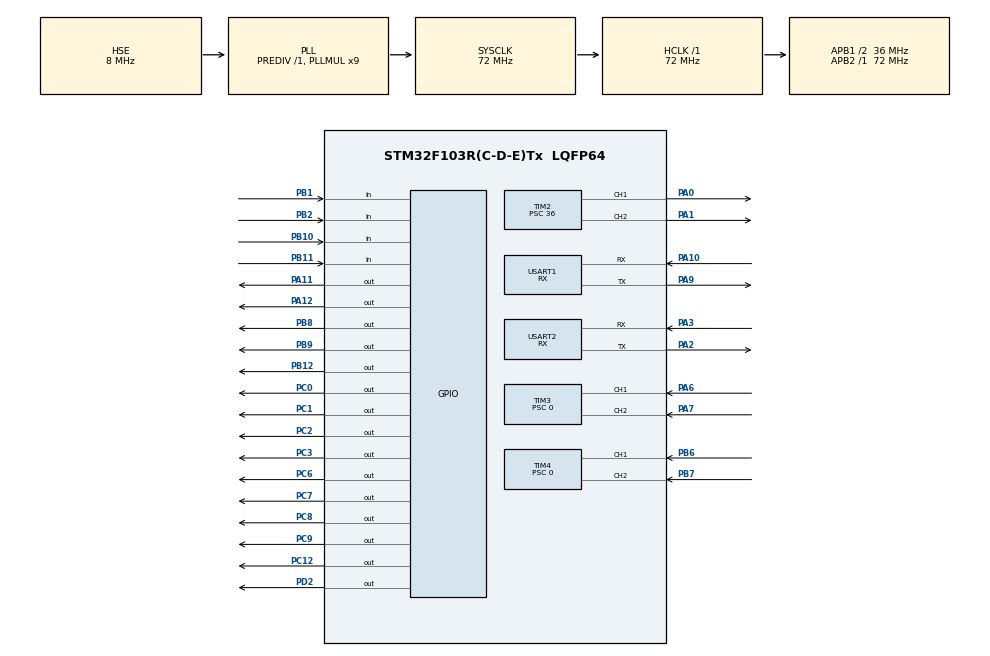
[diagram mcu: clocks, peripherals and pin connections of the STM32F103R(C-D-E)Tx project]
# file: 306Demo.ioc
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Dma.Request0=USART1_RX
Dma.Request1=USART2_RX
Dma.USART1_RX.0.Direction=DMA_PERIPH_TO_MEMORY
Dma.USART1_RX.0.Instance=DMA1_Channel5
Dma.USART1_RX.0.MemDataAlignment=DMA_MDATAALIGN_BYTE
Dma.USART1_RX.0.MemInc=DMA_MINC_ENABLE
Dma.USART1_RX.0.Mode=DMA_CIRCULAR
Dma.USART1_RX.0.PeriphDataAlignment=DMA_PDATAALIGN_BYTE
Dma.USART1_RX.0.PeriphInc=DMA_PINC_DISABLE
Dma.USART1_RX.0.Priority=DMA_PRIORITY_HIGH
Dma.USART2_RX.1.Direction=DMA_PERIPH_TO_MEMORY
Dma.USART2_RX.1.Instance=DMA1_Channel6
Dma.USART2_RX.1.MemDataAlignment=DMA_MDATAALIGN_BYTE
Dma.USART2_RX.1.MemInc=DMA_MINC_ENABLE
Dma.USART2_RX.1.Mode=DMA_CIRCULAR
Dma.USART2_RX.1.PeriphDataAlignment=DMA_PDATAALIGN_BYTE
Dma.USART2_RX.1.PeriphInc=DMA_PINC_DISABLE
Dma.USART2_RX.1.Priority=DMA_PRIORITY_HIGH
Mcu.Family=STM32F1
Mcu.Name=STM32F103R(C-D-E)Tx
Mcu.Package=LQFP64
NVIC.DMA1_Channel5_IRQn=true\:1\:0\:true\:false\:true
NVIC.DMA1_Channel6_IRQn=true\:1\:0\:true\:false\:true
NVIC.PriorityGroup=NVIC_PRIORITYGROUP_2
PA0-WKUP.GPIO_Speed=GPIO_SPEED_FREQ_HIGH
PA0-WKUP.Signal=S_TIM2_CH1_ETR
PA1.GPIO_Speed=GPIO_SPEED_FREQ_HIGH
PA1.Signal=S_TIM2_CH2
PA10.Mode=Asynchronous
PA10.Signal=USART1_RX
PA11.GPIO_Speed=GPIO_SPEED_FREQ_HIGH
PA11.Signal=GPIO_Output
PA12.GPIO_Speed=GPIO_SPEED_FREQ_HIGH
PA12.Signal=GPIO_Output
PA13.Mode=Serial_Wire
PA13.Signal=SYS_JTMS-SWDIO
PA14.Mode=Serial_Wire
PA14.Signal=SYS_JTCK-SWCLK
PA2.Mode=Asynchronous
PA2.Signal=USART2_TX
PA3.Mode=Asynchronous
PA3.Signal=USART2_RX
PA6.Signal=S_TIM3_CH1
PA7.Signal=S_TIM3_CH2
PA9.Mode=Asynchronous
PA9.Signal=USART1_TX
PB1.GPIO_PuPd=GPIO_PULLUP
PB1.Signal=GPIO_Input
PB10.GPIO_PuPd=GPIO_PULLUP
PB10.Signal=GPIO_Input
PB11.GPIO_PuPd=GPIO_PULLUP
PB11.Signal=GPIO_Input
PB12.GPIO_Speed=GPIO_SPEED_FREQ_HIGH
PB12.Signal=GPIO_Output
PB2.GPIO_PuPd=GPIO_PULLUP
PB2.Signal=GPIO_Input
PB6.Signal=S_TIM4_CH1
PB7.Signal=S_TIM4_CH2
PB8.GPIO_Speed=GPIO_SPEED_FREQ_HIGH
PB8.Signal=GPIO_Output
PB9.GPIO_Speed=GPIO_SPEED_FREQ_HIGH
PB9.Signal=GPIO_Output
PC0.GPIO_Speed=GPIO_SPEED_FREQ_HIGH
PC0.PinState=GPIO_PIN_SET
PC0.Signal=GPIO_Output
PC1.GPIO_Speed=GPIO_SPEED_FREQ_HIGH
PC1.PinState=GPIO_PIN_SET
PC1.Signal=GPIO_Output
PC12.GPIO_Speed=GPIO_SPEED_FREQ_HIGH
PC12.Signal=GPIO_Output
PC2.GPIO_Speed=GPIO_SPEED_FREQ_HIGH
PC2.PinState=GPIO_PIN_SET
PC2.Signal=GPIO_Output
PC3.GPIO_Speed=GPIO_SPEED_FREQ_HIGH
PC3.PinState=GPIO_PIN_SET
PC3.Signal=GPIO_Output
PC6.GPIO_Speed=GPIO_SPEED_FREQ_HIGH
PC6.Signal=GPIO_Output
PC7.GPIO_Speed=GPIO_SPEED_FREQ_HIGH
PC7.Signal=GPIO_Output
PC8.GPIO_Speed=GPIO_SPEED_FREQ_HIGH
PC8.Signal=GPIO_Output
PC9.GPIO_Speed=GPIO_SPEED_FREQ_HIGH
PC9.Signal=GPIO_Output
PD0-OSC_IN.Mode=HSE-External-Oscillator
PD0-OSC_IN.Signal=RCC_OSC_IN
PD1-OSC_OUT.Mode=HSE-External-Oscillator
PD1-OSC_OUT.Signal=RCC_OSC_OUT
PD2.GPIO_Speed=GPIO_SPEED_FREQ_HIGH
PD2.Signal=GPIO_Output
ProjectManager.HeapSize=0x200
ProjectManager.StackSize=0x400
ProjectManager.TargetToolchain=MDK-ARM V5
RCC.AHBFreq_Value=72000000
RCC.APB1CLKDivider=RCC_HCLK_DIV2
RCC.APB1Freq_Value=36000000
RCC.APB1TimFreq_Value=72000000
RCC.APB2Freq_Value=72000000
RCC.APB2TimFreq_Value=72000000
RCC.HCLKFreq_Value=72000000
RCC.HSIState=RCC_HSI_ON
RCC.PLLMUL=RCC_PLL_MUL9
RCC.PLLSourceVirtual=RCC_PLLSOURCE_HSE
RCC.SYSCLKFreq_VALUE=72000000
RCC.SYSCLKSource=RCC_SYSCLKSOURCE_PLLCLK
RCC.USBFreq_Value=72000000
SH.S_TIM2_CH1_ETR.0=TIM2_CH1,PWM Generation1 CH1
SH.S_TIM2_CH2.0=TIM2_CH2,PWM Generation2 CH2
SH.S_TIM3_CH1.0=TIM3_CH1,Encoder_Interface
SH.S_TIM3_CH2.0=TIM3_CH2,Encoder_Interface
SH.S_TIM4_CH1.0=TIM4_CH1,Encoder_Interface
SH.S_TIM4_CH2.0=TIM4_CH2,Encoder_Interface
TIM2.Channel-PWM\ Generation2\ CH2=TIM_CHANNEL_2
TIM2.Period=1560
TIM2.Prescaler=36
TIM2.Pulse-PWM\ Generation1\ CH1=0
TIM2.Pulse-PWM\ Generation2\ CH2=0
TIM3.CounterMode=TIM_COUNTERMODE_UP
TIM3.EncoderMode=TIM_ENCODERMODE_TI12
TIM3.IC1Filter=15
TIM3.IC1Polarity=TIM_ICPOLARITY_BOTHEDGE
TIM3.IC2Filter=15
TIM3.IC2Polarity=TIM_ICPOLARITY_BOTHEDGE
TIM3.Period=10000
TIM3.Prescaler=0
TIM4.EncoderMode=TIM_ENCODERMODE_TI12
TIM4.IC1Filter=15
TIM4.IC1Polarity=TIM_ICPOLARITY_BOTHEDGE
TIM4.IC2Filter=15
TIM4.IC2Polarity=TIM_ICPOLARITY_BOTHEDGE
TIM4.Period=10000
TIM4.Prescaler=0
USART1.Mode=MODE_RX
USART2.Mode=MODE_RX
board=306Demo

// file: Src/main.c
/**
  ******************************************************************************
  * File Name          : main.c
  * Description        : Main program body
  ******************************************************************************
  *
  * COPYRIGHT(c) 2017 STMicroelectronics
  *
  * Redistribution and use in source and binary forms, with or without modification,
  * are permitted provided that the following conditions are met:
  *   1. Redistributions of source code must retain the above copyright notice,
  *      this list of conditions and the following disclaimer.
  *   2. Redistributions in binary form must reproduce the above copyright notice,
  *      this list of conditions and the following disclaimer in the documentation
  *      and/or other materials provided with the distribution.
  *   3. Neither the name of STMicroelectronics nor the names of its contributors
  *      may be used to endorse or promote products derived from this software
  *      without specific prior written permission.
  *
  * THIS SOFTWARE IS PROVIDED BY THE COPYRIGHT HOLDERS AND CONTRIBUTORS "AS IS"
  * AND ANY EXPRESS OR IMPLIED WARRANTIES, INCLUDING, BUT NOT LIMITED TO, THE
  * IMPLIED WARRANTIES OF MERCHANTABILITY AND FITNESS FOR A PARTICULAR PURPOSE ARE
  * DISCLAIMED. IN NO EVENT SHALL THE COPYRIGHT HOLDER OR CONTRIBUTORS BE LIABLE
  * FOR ANY DIRECT, INDIRECT, INCIDENTAL, SPECIAL, EXEMPLARY, OR CONSEQUENTIAL
  * DAMAGES (INCLUDING, BUT NOT LIMITED TO, PROCUREMENT OF SUBSTITUTE GOODS OR
  * SERVICES; LOSS OF USE, DATA, OR PROFITS; OR BUSINESS INTERRUPTION) HOWEVER
  * CAUSED AND ON ANY THEORY OF LIABILITY, WHETHER IN CONTRACT, STRICT LIABILITY,
  * OR TORT (INCLUDING NEGLIGENCE OR OTHERWISE) ARISING IN ANY WAY OUT OF THE USE
  * OF THIS SOFTWARE, EVEN IF ADVISED OF THE POSSIBILITY OF SUCH DAMAGE.
  *
  ******************************************************************************
  */
#include "main.h"
#include "stm32f1xx_hal.h"
#include "dma.h"
#include "tim.h"
#include "usart.h"
#include "gpio.h"

/* USER CODE BEGIN Includes */
#include "delay.h"
#include "parseJY.h"
#include "motor_cont.h"
#include "imuPID.h"
#include "softi2c.h"

/* USER CODE END Includes */

/* USER CODE BEGIN PV */
/* Private variables ---------------------------------------------------------*/
//static uint8_t uwbData[10];
uint8_t stableFlag = 0;
uint8_t routineFlag = 0;

/* USER CODE END PV */

void SystemClock_Config(void);
void Error_Handler(void);

/* USER CODE BEGIN PFP */
/* Private function prototypes -----------------------------------------------*/

/* USER CODE END PFP */

/* USER CODE BEGIN 0 */
void Routine1(void)
{
	routineFlag = 0;

	DelayMS(1000);

	car_Awake();
	car_FastDecay();

	car_GoLength(1560 * 3.11 * 5.5);
	while(ifTurnStable());

	car_Turn(90.0);
	while(ifTurnToStable());

	car_GoLength(1560 * 3.11 * 9);
	while(ifTurnStable());

	car_Sleep();
	DelayMS(5000);
	car_Awake();

	car_Turn(180.0);
	while(ifTurnToStable());

	car_Turn(-5.0);
	while(ifTurnToStable());

	car_GoLength(1560 * 3.11 * 8);
	while(ifTurnStable());

	car_Turn(-100.0);
	while(ifTurnToStable());

	car_GoLength(1560 * 3.11 * 4.5);
	while(ifTurnStable());

	car_Turn(180.0);
	while(ifTurnToStable());

	car_Sleep();
}

void Routine2(void)
{
	routineFlag = 0;

	DelayMS(1000);

	car_Awake();
	car_FastDecay();

	car_GoLength(1560 * 3.11 * 8);
	while(ifTurnStable());

	car_Turn(-95.0);
	while(ifTurnToStable());

	car_GoLength(1560 * 3.11 * 8.5);
	while(ifTurnStable());

	car_Sleep();
}

/* USER CODE END 0 */

int main(void)
{

  /* USER CODE BEGIN 1 */
//	static uint8_t cntLength = 0;

  /* USER CODE END 1 */

  /* MCU Configuration----------------------------------------------------------*/

  /* Reset of all peripherals, Initializes the Flash interface and the Systick. */
  HAL_Init();

  /* Configure the system clock */
  SystemClock_Config();

  /* Initialize all configured peripherals */
  MX_GPIO_Init();
  MX_DMA_Init();
  MX_TIM2_Init();
  MX_TIM3_Init();
  MX_TIM4_Init();
  MX_USART1_UART_Init();
  MX_USART2_UART_Init();

  /* USER CODE BEGIN 2 */
	initJY();

	HAL_TIM_PWM_Start(&htim2, TIM_CHANNEL_1);
	HAL_TIM_PWM_Start(&htim2, TIM_CHANNEL_2);

	HAL_TIM_Encoder_Start(&htim3, TIM_CHANNEL_1);
	HAL_TIM_Encoder_Start(&htim3, TIM_CHANNEL_2);

	HAL_TIM_Encoder_Start(&htim4, TIM_CHANNEL_1);
	HAL_TIM_Encoder_Start(&htim4, TIM_CHANNEL_2);

	DelayMS(10);
	soft_SmgDisplay();
	stableFlag = 1;

//	DelayMS(5000);
	HAL_GPIO_WritePin(GPIOD, GPIO_PIN_2, GPIO_PIN_SET); //Debug led.

  /* USER CODE END 2 */

  /* Infinite loop */
  while (1)
  {

  /* USER CODE BEGIN 3 */
		if(routineFlag == 1)
			Routine1();
		else if(routineFlag == 2)
			Routine2();
		DelayMS(500);

  }
  /* USER CODE END 3 */

}

/** System Clock Configuration
*/
void SystemClock_Config(void)
{

  RCC_OscInitTypeDef RCC_OscInitStruct;
  RCC_ClkInitTypeDef RCC_ClkInitStruct;

    /**Initializes the CPU, AHB and APB busses clocks
    */
  RCC_OscInitStruct.OscillatorType = RCC_OSCILLATORTYPE_HSE;
  RCC_OscInitStruct.HSEState = RCC_HSE_ON;
  RCC_OscInitStruct.HSEPredivValue = RCC_HSE_PREDIV_DIV1;
  RCC_OscInitStruct.HSIState = RCC_HSI_ON;
  RCC_OscInitStruct.PLL.PLLState = RCC_PLL_ON;
  RCC_OscInitStruct.PLL.PLLSource = RCC_PLLSOURCE_HSE;
  RCC_OscInitStruct.PLL.PLLMUL = RCC_PLL_MUL9;
  if (HAL_RCC_OscConfig(&RCC_OscInitStruct) != HAL_OK)
  {
    Error_Handler();
  }

    /**Initializes the CPU, AHB and APB busses clocks
    */
  RCC_ClkInitStruct.ClockType = RCC_CLOCKTYPE_HCLK|RCC_CLOCKTYPE_SYSCLK
                              |RCC_CLOCKTYPE_PCLK1|RCC_CLOCKTYPE_PCLK2;
  RCC_ClkInitStruct.SYSCLKSource = RCC_SYSCLKSOURCE_PLLCLK;
  RCC_ClkInitStruct.AHBCLKDivider = RCC_SYSCLK_DIV1;
  RCC_ClkInitStruct.APB1CLKDivider = RCC_HCLK_DIV2;
  RCC_ClkInitStruct.APB2CLKDivider = RCC_HCLK_DIV1;

  if (HAL_RCC_ClockConfig(&RCC_ClkInitStruct, FLASH_LATENCY_2) != HAL_OK)
  {
    Error_Handler();
  }

    /**Configure the Systick interrupt time
    */
  HAL_SYSTICK_Config(HAL_RCC_GetHCLKFreq()/1000);

    /**Configure the Systick
    */
  HAL_SYSTICK_CLKSourceConfig(SYSTICK_CLKSOURCE_HCLK);

  /* SysTick_IRQn interrupt configuration */
  HAL_NVIC_SetPriority(SysTick_IRQn, 0, 1);
}

void Error_Handler(void)
{
  while(1)
  {
  }
}

/************************ (C) COPYRIGHT STMicroelectronics *****END OF FILE****/
